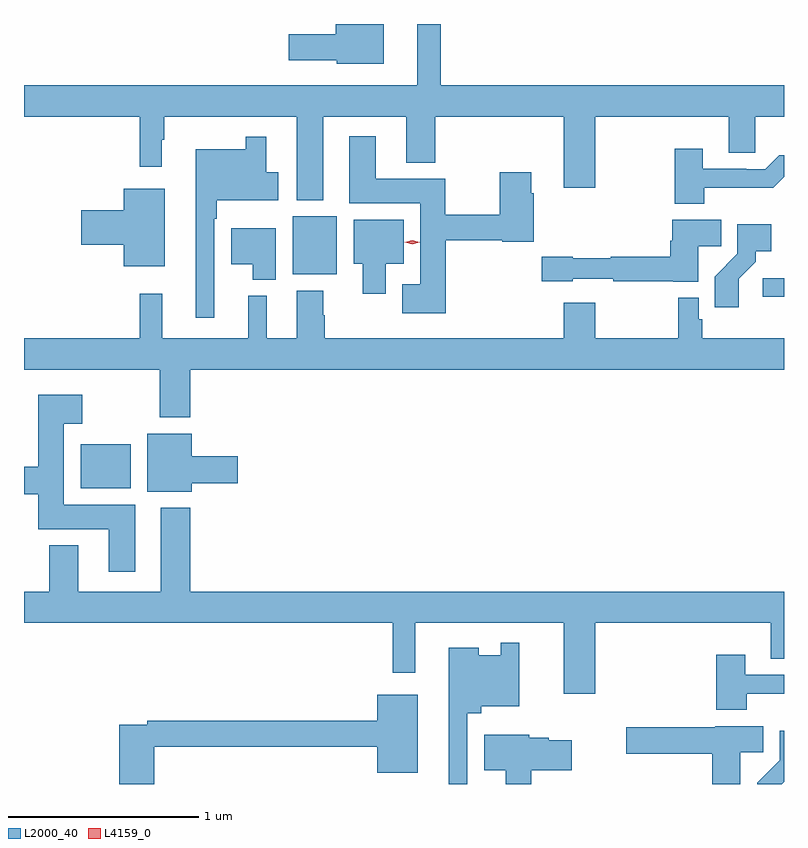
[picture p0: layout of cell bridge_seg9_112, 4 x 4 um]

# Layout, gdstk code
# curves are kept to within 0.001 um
import gdstk
lib = gdstk.Library(unit=1e-6, precision=1e-09)
def R(c, l, rs):  # rectangles x0, y0, x1, y1
    for r in rs: c.add(gdstk.rectangle(r[:2], r[2:], *l))
def P(c, l, *ps):  # polygons
    for p in ps: c.add(gdstk.Polygon(p, *l))
L2000_40 = (2000, 40)
L4159_0 = (4159, 0)

bridge_seg9_112 = lib.new_cell('bridge_seg9_112')
R(bridge_seg9_112, L2000_40, [(869.756,1181.144,870.019,1181.374), (873.345,1182.151,873.458,1182.249), (870.872,1182.269,871.105,1182.574)])
P(bridge_seg9_112, L2000_40, [(871.351,1183.587),(871.1,1183.587),(871.1,1183.532),(870.852,1183.532),(870.852,1183.397),(871.104,1183.397),(871.104,1183.379),(871.351,1183.379)],
  [(871.033,1183.1),(871.469,1183.1),(871.469,1182.857),(871.622,1182.857),(871.622,1183.1),(872.3,1183.1),(872.3,1182.726),(872.464,1182.726),(872.464,1183.1),(873.167,1183.1),(873.167,1182.91),(873.306,1182.91),(873.306,1183.1),(873.458,1183.1),(873.458,1183.264),(871.651,1183.264),(871.651,1183.587),(871.529,1183.587),(871.529,1183.264),(869.458,1183.264),(869.458,1183.1),(870.067,1183.1),(870.067,1182.837),(870.184,1182.837),(870.184,1182.977),(870.196,1182.977),(870.196,1183.1),(870.893,1183.1),(870.893,1182.659),(871.033,1182.659)],
  [(871.679,1182.448),(871.974,1182.448),(871.974,1182.44),(872.141,1182.44),(872.141,1182.695),(872.128,1182.695),(872.128,1182.808),(871.963,1182.808),(871.963,1182.584),(871.674,1182.584),(871.674,1182.772),(871.309,1182.772),(871.309,1182.997),(871.169,1182.997),(871.169,1182.644),(871.544,1182.644),(871.544,1182.217),(871.449,1182.217),(871.449,1182.065),(871.679,1182.065)],
  [(870.459,1182.563),(870.472,1182.563),(870.472,1182.659),(870.796,1182.659),(870.796,1182.807),(870.733,1182.807),(870.733,1182.994),(870.624,1182.994),(870.624,1182.928),(870.362,1182.928),(870.362,1182.042),(870.459,1182.042)],
  [(873.039,1182.726),(873.401,1182.725),(873.458,1182.782),(873.458,1182.895),(873.433,1182.895),(873.36,1182.822),(873.26,1182.822),(873.26,1182.825),(873.031,1182.825),(873.031,1182.931),(872.884,1182.931),(872.884,1182.641),(873.039,1182.641)],
  [(870.199,1182.721),(869.984,1182.721),(869.984,1182.608),(869.76,1182.608),(869.76,1182.425),(869.984,1182.425),(869.984,1182.311),(870.199,1182.311)],
  [(871.363,1182.326),(871.456,1182.326),(871.456,1182.556),(871.193,1182.556),(871.193,1182.326),(871.241,1182.326),(871.241,1182.168),(871.363,1182.168)],
  [(873.007,1182.418),(873.128,1182.418),(873.128,1182.556),(872.87,1182.556),(872.87,1182.446),(872.858,1182.446),(872.858,1182.362),(872.546,1182.362),(872.546,1182.355),(872.346,1182.355),(872.346,1182.363),(872.184,1182.363),(872.184,1182.233),(872.346,1182.233),(872.346,1182.246),(872.56,1182.246),(872.56,1182.234),(872.874,1182.234),(872.874,1182.23),(873.007,1182.23)],
  [(873.22,1182.247),(873.31,1182.337),(873.31,1182.392),(873.391,1182.392),(873.391,1182.532),(873.213,1182.532),(873.213,1182.377),(873.094,1182.258),(873.094,1182.096),(873.22,1182.096)],
  [(870.784,1182.511),(870.548,1182.511),(870.548,1182.323),(870.662,1182.323),(870.662,1182.242),(870.784,1182.242)],
  [(870.332,1181.768),(873.458,1181.768),(873.458,1181.932),(873.029,1181.932),(873.029,1182.033),(873.009,1182.033),(873.009,1182.145),(872.901,1182.145),(872.901,1181.932),(872.464,1181.932),(872.464,1182.121),(872.3,1182.121),(872.3,1181.932),(871.041,1181.932),(871.041,1182.053),(871.033,1182.053),(871.033,1182.184),(870.893,1182.184),(870.893,1181.932),(870.736,1181.932),(870.736,1182.157),(870.638,1182.157),(870.638,1181.932),(870.185,1181.932),(870.185,1182.166),(870.067,1182.166),(870.067,1181.932),(869.458,1181.932),(869.458,1181.768),(870.172,1181.768),(870.172,1181.516),(870.332,1181.516)],
  [(870.043,1181.056),(869.668,1181.056),(869.668,1181.483),(869.764,1181.483),(869.764,1181.635),(869.534,1181.635),(869.534,1181.258),(869.458,1181.258),(869.458,1181.111),(869.534,1181.111),(869.534,1180.928),(869.903,1180.928),(869.903,1180.704),(870.043,1180.704)],
  [(870.34,1181.171),(870.583,1181.171),(870.583,1181.313),(870.34,1181.313),(870.34,1181.431),(870.107,1181.431),(870.107,1181.126),(870.34,1181.126)],
  [(872.464,1180.436),(873.389,1180.436),(873.389,1180.246),(873.458,1180.246),(873.458,1180.6),(870.332,1180.6),(870.332,1181.041),(870.179,1181.041),(870.179,1180.6),(869.743,1180.6),(869.743,1180.843),(869.591,1180.843),(869.591,1180.6),(869.458,1180.6),(869.458,1180.436),(871.399,1180.436),(871.399,1180.173),(871.516,1180.173),(871.516,1180.436),(872.3,1180.436),(872.3,1180.062),(872.464,1180.062)],
  [(871.791,1179.959),(871.865,1179.959),(871.865,1179.995),(872.064,1179.995),(872.064,1180.33),(871.968,1180.33),(871.968,1180.264),(871.852,1180.264),(871.852,1180.303),(871.694,1180.303),(871.694,1179.587),(871.791,1179.587)],
  [(873.261,1180.062),(873.458,1180.062),(873.458,1180.161),(873.253,1180.161),(873.253,1180.267),(873.101,1180.267),(873.101,1179.977),(873.261,1179.977)],
  [(870.143,1179.784),(871.316,1179.784),(871.316,1179.647),(871.531,1179.647),(871.531,1180.057),(871.316,1180.057),(871.316,1179.92),(870.106,1179.92),(870.106,1179.9),(869.96,1179.9),(869.96,1179.587),(870.143,1179.587)],
  [(873.229,1179.754),(873.35,1179.754),(873.35,1179.892),(873.096,1179.892),(873.096,1179.887),(872.628,1179.887),(872.628,1179.745),(873.08,1179.745),(873.08,1179.587),(873.229,1179.587)],
  [(873.458,1179.599),(873.458,1179.868),(873.435,1179.868),(873.435,1179.713),(873.316,1179.594),(873.316,1179.587),(873.446,1179.587)],
  [(872.129,1179.659),(872.341,1179.659),(872.341,1179.817),(872.22,1179.817),(872.22,1179.83),(872.116,1179.83),(872.116,1179.847),(871.88,1179.847),(871.88,1179.659),(871.994,1179.659),(871.994,1179.587),(872.129,1179.587)])
P(bridge_seg9_112, L4159_0, [(871.501,1182.428),(871.461,1182.438),(871.461,1182.438),(871.461,1182.438),(871.501,1182.448),(871.541,1182.438),(871.541,1182.438),(871.541,1182.438)])

lib.write_gds('bridge_seg9_112.gds')
